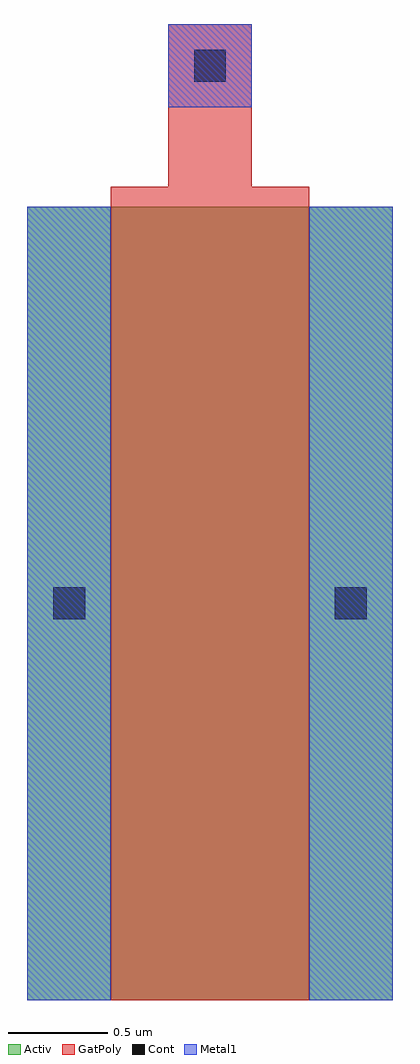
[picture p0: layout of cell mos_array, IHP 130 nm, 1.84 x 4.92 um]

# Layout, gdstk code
import gdstk
lib = gdstk.Library(unit=1e-6, precision=1e-09)
def R(c, l, rs):  # rectangles x0, y0, x1, y1
    for r in rs: c.add(gdstk.rectangle(r[:2], r[2:], *l))
Activ = (1, 0)
GatPoly = (5, 0)
Cont = (6, 0)
Metal1 = (8, 0)

mos_array = lib.new_cell('mos_array')
R(mos_array, Activ, [(0,0,1.84,4)])
R(mos_array, GatPoly, [(0.42,0,1.42,4), (0.42,4,1.42,4.1), (0.71,4.1,1.13,4.92)])
R(mos_array, Cont, [(0.13,1.92,0.29,2.08), (1.55,1.92,1.71,2.08), (0.84,4.63,1,4.79)])
R(mos_array, Metal1, [(0,0,0.42,4), (1.42,0,1.84,4), (0.71,4.5,1.13,4.92)])

lib.write_gds('mos_array.gds')
